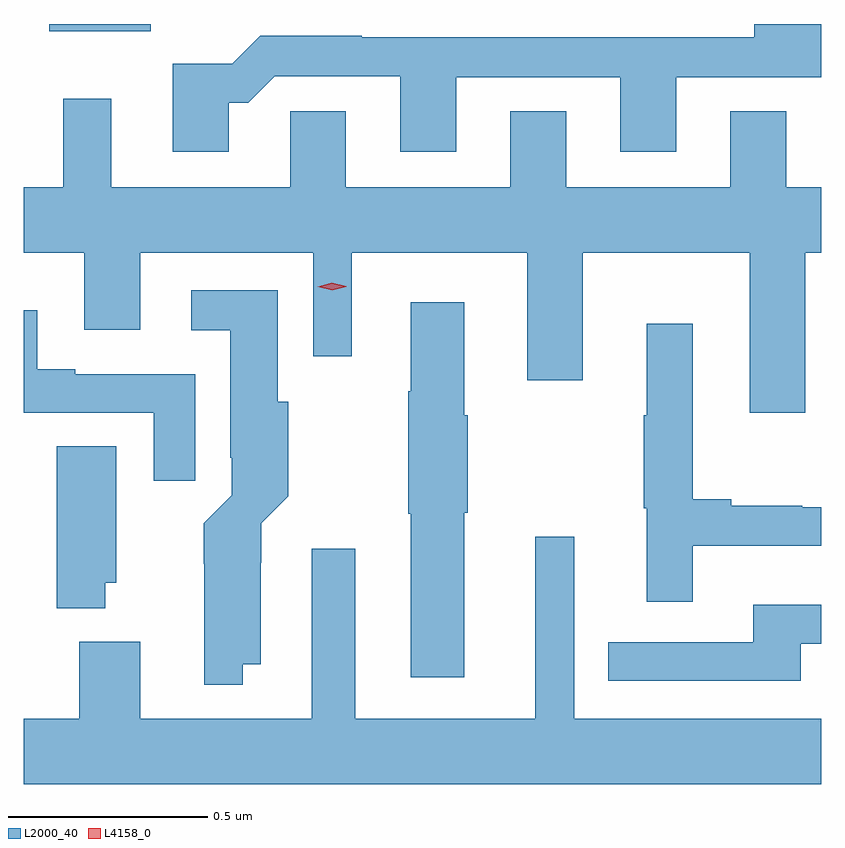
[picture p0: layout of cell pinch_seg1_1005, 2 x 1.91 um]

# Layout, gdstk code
import gdstk
lib = gdstk.Library(unit=1e-6, precision=1e-09)
def R(c, l, rs):  # rectangles x0, y0, x1, y1
    for r in rs: c.add(gdstk.rectangle(r[:2], r[2:], *l))
def P(c, l, *ps):  # polygons
    for p in ps: c.add(gdstk.Polygon(p, *l))
L2000_40 = (2000, 40)
L4158_0 = (4158, 0)

pinch_seg1_1005 = lib.new_cell('pinch_seg1_1005')
R(pinch_seg1_1005, L2000_40, [(298.544,529.643,298.798,529.661)])
P(pinch_seg1_1005, L2000_40, [(298.993,529.463),(299.042,529.463),(299.109,529.53),(299.423,529.53),(299.423,529.341),(299.563,529.341),(299.563,529.527),(299.975,529.527),(299.975,529.341),(300.115,529.341),(300.115,529.527),(300.479,529.527),(300.479,529.661),(300.311,529.661),(300.311,529.628),(299.327,529.628),(299.327,529.631),(299.072,529.631),(299.002,529.561),(298.853,529.561),(298.853,529.341),(298.993,529.341)],
  [(300.439,529.088),(300.479,529.088),(300.479,529.252),(300.391,529.252),(300.391,529.442),(300.251,529.442),(300.251,529.252),(299.839,529.252),(299.839,529.442),(299.699,529.442),(299.699,529.252),(299.287,529.252),(299.287,529.442),(299.148,529.442),(299.148,529.252),(298.699,529.252),(298.699,529.474),(298.578,529.474),(298.578,529.252),(298.479,529.252),(298.479,529.088),(298.631,529.088),(298.631,528.894),(298.771,528.894),(298.771,529.088),(299.205,529.088),(299.205,528.828),(299.302,528.828),(299.302,529.088),(299.741,529.088),(299.741,528.768),(299.881,528.768),(299.881,529.088),(300.299,529.088),(300.299,528.687),(300.439,528.687)],
  [(299.029,528.056),(299.074,528.056),(299.074,528.311),(299.075,528.311),(299.075,528.41),(299.142,528.477),(299.142,528.714),(299.116,528.714),(299.116,528.994),(298.899,528.994),(298.899,528.893),(298.997,528.893),(298.997,528.574),(299.001,528.574),(299.001,528.48),(298.931,528.41),(298.931,528.308),(298.932,528.308),(298.932,528.005),(299.029,528.005)],
  [(299.584,528.436),(299.592,528.436),(299.592,528.68),(299.584,528.68),(299.584,528.964),(299.45,528.964),(299.45,528.74),(299.443,528.74),(299.443,528.433),(299.45,528.433),(299.45,528.024),(299.584,528.024)],
  [(298.909,528.783),(298.609,528.783),(298.609,528.796),(298.513,528.796),(298.513,528.943),(298.479,528.943),(298.479,528.687),(298.805,528.687),(298.805,528.516),(298.909,528.516)],
  [(300.157,528.353),(300.479,528.353),(300.479,528.45),(300.431,528.45),(300.431,528.453),(300.253,528.453),(300.253,528.47),(300.157,528.47),(300.157,528.91),(300.041,528.91),(300.041,528.68),(300.034,528.68),(300.034,528.447),(300.041,528.447),(300.041,528.213),(300.157,528.213)],
  [(298.684,528.261),(298.711,528.261),(298.711,528.602),(298.562,528.602),(298.562,528.197),(298.684,528.197)],
  [(300.479,527.92),(299.859,527.92),(299.859,528.376),(299.762,528.376),(299.762,527.92),(299.311,527.92),(299.311,528.346),(299.201,528.346),(299.201,527.92),(298.771,527.92),(298.771,528.112),(298.619,528.112),(298.619,527.92),(298.479,527.92),(298.479,527.756),(300.479,527.756)],
  [(300.427,528.108),(300.479,528.108),(300.479,528.205),(300.308,528.205),(300.308,528.111),(299.944,528.111),(299.944,528.015),(300.427,528.015)])
P(pinch_seg1_1005, L4158_0, [(299.253,528.993),(299.217,529.002),(299.217,529.002),(299.217,529.002),(299.252,529.013),(299.288,529.004),(299.288,529.004),(299.288,529.003)])

lib.write_gds('pinch_seg1_1005.gds')
